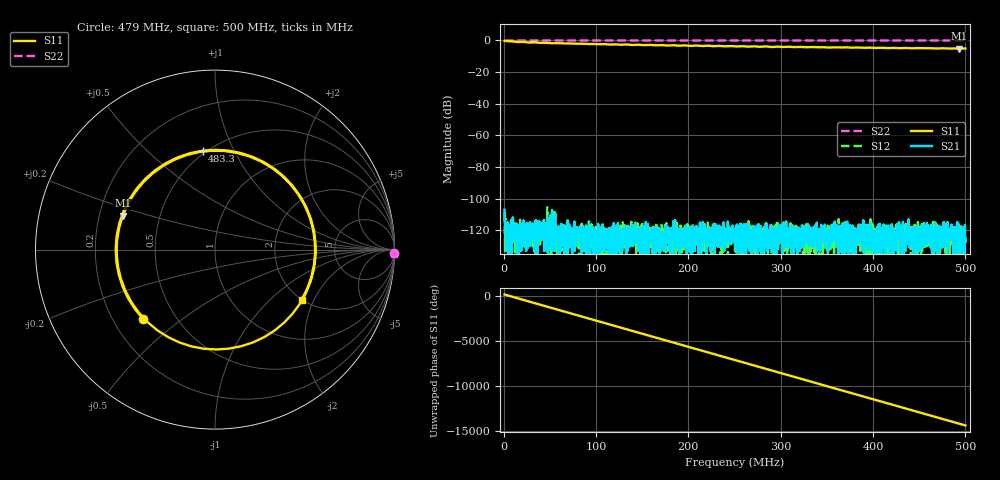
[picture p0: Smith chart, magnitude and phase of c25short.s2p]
! MS46122B
! 1746301/73750021
! 11/3/2023 2:30:27 PM
! C:\USERS\SPEGWAL\DOWNLOADS\SAURABH\REACH\NODES\FRONT END\MEASUREMENTS\MEASURED S-PARAMETERS_03-11-2023\MS3-MS4_MS1_CABLE\SHORT_SOURCE_S11.S2P
! CHANNEL.1
! TR.MEASUREMENT
! CORRECTED.DATA
# GHZ S RI R 50.0
! FREQ.GHZ  S11RE  S11IM  S21RE  S21IM  S12RE  S12IM  S22RE  S22IM
!; PortSelection: Port_12
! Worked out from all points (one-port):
!   2001 points, 1 MHz to 500 MHz, reference 50 ohm
!   lowest |S11| = -5.2 dB at 493.5 MHz (marker M1), VSWR 3.42, Z = 15 + j8.11 ohm
!   |S11| at or under -10 dB: nowhere
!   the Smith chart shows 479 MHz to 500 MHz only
!   S11 on the Smith chart (normalised r, x): 479 MHz: 0.33, -0.37; 483.3 MHz: 0.48, +0.76; 500 MHz: 1.99, -1.62
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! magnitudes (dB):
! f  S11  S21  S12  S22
! 1 MHz  -0.3  -107.0  -108.9  0.0
! 27.45 MHz  -1.3  -118.3  -121.9  0.0
! 84.33 MHz  -2.1  -140.0  -130.5  0.0
! 167.4 MHz  -3.0  -119.6  -126.0  0.0
! 202.1 MHz  -3.4  -134.0  -119.7  0.0
! 208.3 MHz  -3.2  -128.0  -118.7  0.0
! 214.6 MHz  -3.5  -126.0  -133.0  0.0
! 220.8 MHz  -3.3  -121.9  -120.5  0.0
! 250.5 MHz  -3.7  -121.0  -134.0  0.0
! 258.7 MHz  -3.6  -119.7  -140.0  0.0
! 265 MHz  -3.9  -124.3  -121.9  0.0
! 271 MHz  -3.7  -133.0  -119.7  0.0
! 277.2 MHz  -4.0  -125.4  -124.9  0.0
! 283.4 MHz  -3.7  -126.0  -126.0  0.0
! 290.4 MHz  -4.1  -133.0  -119.8  0.0
! 296.7 MHz  -3.9  -120.9  -115.4  0.0
! 333.8 MHz  -4.1  -130.0  -127.0  0.0
! 416.9 MHz  -4.8  -124.7  -121.4  0.0
! 479 MHz  -5.1  -120.9  -123.9  0.0
! 483.3 MHz  -5.1  -124.3  -137.0  0.0
! 493.5 MHz  -5.2  -120.0  -126.0  0.0
! 500 MHz  -5.1  -125.9  -126.0  0.0
